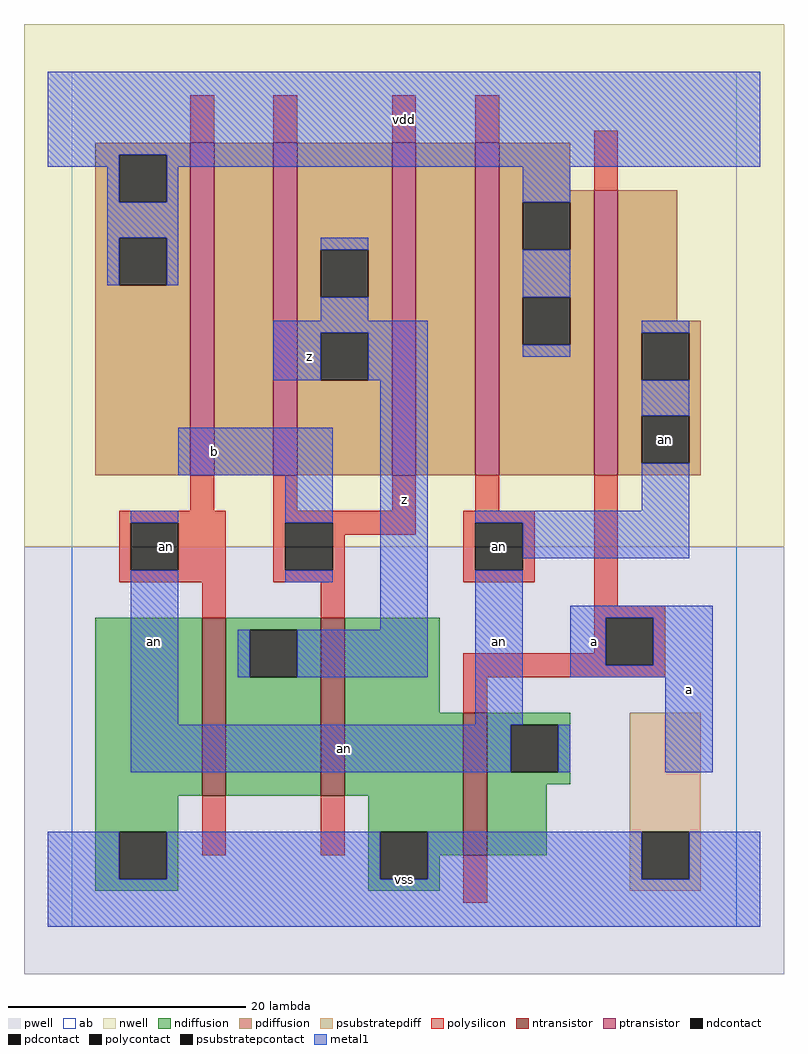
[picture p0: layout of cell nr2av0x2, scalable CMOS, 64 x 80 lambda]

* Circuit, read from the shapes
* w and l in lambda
.subckt nr2av0x2 a an b vdd vss z
M1 z an vss vss nfet w=15 l=2
M2 vss b z vss nfet w=15 l=2
M3 an a vss vss nfet w=12 l=2
M4 n1 an vdd n2 pfet w=28 l=2
M5 z b n1 n2 pfet w=28 l=2
M6 n3 b z n2 pfet w=28 l=2
M7 vdd an n3 n2 pfet w=28 l=2
M8 an a vdd n2 pfet w=24 l=2
.ends

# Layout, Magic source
magic
tech scmos
<< ab >>
rect 0 0 56 72
<< pwell >>
rect -4 -4 60 32
<< nwell >>
rect -4 32 60 76
<< polysilicon >>
rect 10 66 12 70
rect 17 66 19 70
rect 27 66 29 70
rect 34 66 36 70
rect 44 62 46 67
rect 10 35 12 38
rect 17 35 19 38
rect 27 35 29 38
rect 34 35 36 38
rect 4 34 13 35
rect 4 30 5 34
rect 9 30 13 34
rect 4 29 13 30
rect 17 34 29 35
rect 17 30 18 34
rect 22 33 29 34
rect 33 34 39 35
rect 22 30 23 33
rect 17 29 23 30
rect 33 30 34 34
rect 38 30 39 34
rect 33 29 39 30
rect 11 26 13 29
rect 21 26 23 29
rect 44 27 46 38
rect 44 26 50 27
rect 44 23 45 26
rect 33 22 45 23
rect 49 22 50 26
rect 33 21 50 22
rect 33 18 35 21
rect 11 6 13 11
rect 21 6 23 11
rect 33 2 35 6
<< ndiffusion >>
rect 2 11 11 26
rect 13 25 21 26
rect 13 21 15 25
rect 19 21 21 25
rect 13 11 21 21
rect 23 18 31 26
rect 23 11 33 18
rect 2 8 9 11
rect 2 4 4 8
rect 8 4 9 8
rect 25 8 33 11
rect 2 3 9 4
rect 25 4 26 8
rect 30 6 33 8
rect 35 17 42 18
rect 35 13 37 17
rect 41 13 42 17
rect 35 12 42 13
rect 35 6 40 12
rect 30 4 31 6
rect 25 3 31 4
<< pdiffusion >>
rect 2 65 10 66
rect 2 61 4 65
rect 8 61 10 65
rect 2 58 10 61
rect 2 54 4 58
rect 8 54 10 58
rect 2 38 10 54
rect 12 38 17 66
rect 19 57 27 66
rect 19 53 21 57
rect 25 53 27 57
rect 19 50 27 53
rect 19 46 21 50
rect 25 46 27 50
rect 19 38 27 46
rect 29 38 34 66
rect 36 62 42 66
rect 36 61 44 62
rect 36 57 38 61
rect 42 57 44 61
rect 36 53 44 57
rect 36 49 38 53
rect 42 49 44 53
rect 36 38 44 49
rect 46 51 51 62
rect 46 50 53 51
rect 46 46 48 50
rect 52 46 53 50
rect 46 43 53 46
rect 46 39 48 43
rect 52 39 53 43
rect 46 38 53 39
<< metal1 >>
rect -2 65 58 72
rect -2 64 4 65
rect 3 61 4 64
rect 8 64 58 65
rect 8 61 9 64
rect 3 58 9 61
rect 38 61 42 64
rect 3 54 4 58
rect 8 54 9 58
rect 21 57 25 58
rect 21 51 25 53
rect 38 53 42 57
rect 17 50 30 51
rect 17 46 21 50
rect 25 46 30 50
rect 38 48 42 49
rect 48 50 52 51
rect 9 38 22 42
rect 5 34 9 35
rect 5 17 9 30
rect 18 34 22 38
rect 18 29 22 30
rect 26 25 30 46
rect 48 43 52 46
rect 48 35 52 39
rect 14 21 15 25
rect 19 21 30 25
rect 34 34 52 35
rect 38 31 52 34
rect 34 17 38 30
rect 42 26 54 27
rect 42 22 45 26
rect 49 22 54 26
rect 42 21 54 22
rect 5 13 37 17
rect 41 13 42 17
rect 50 13 54 21
rect -2 4 4 8
rect 8 4 26 8
rect 30 4 48 8
rect 52 4 58 8
rect -2 0 58 4
<< ntransistor >>
rect 11 11 13 26
rect 21 11 23 26
rect 33 6 35 18
<< ptransistor >>
rect 10 38 12 66
rect 17 38 19 66
rect 27 38 29 66
rect 34 38 36 66
rect 44 38 46 62
<< polycontact >>
rect 5 30 9 34
rect 18 30 22 34
rect 34 30 38 34
rect 45 22 49 26
<< ndcontact >>
rect 15 21 19 25
rect 4 4 8 8
rect 26 4 30 8
rect 37 13 41 17
<< pdcontact >>
rect 4 61 8 65
rect 4 54 8 58
rect 21 53 25 57
rect 21 46 25 50
rect 38 57 42 61
rect 38 49 42 53
rect 48 46 52 50
rect 48 39 52 43
<< psubstratepcontact >>
rect 48 4 52 8
<< psubstratepdiff >>
rect 47 8 53 18
rect 47 4 48 8
rect 52 4 53 8
rect 47 3 53 4
<< labels >>
rlabel polycontact 8 32 8 32 6 an
rlabel polycontact 36 32 36 32 6 an
rlabel metal1 7 24 7 24 6 an
rlabel metal1 12 40 12 40 6 b
rlabel metal1 20 48 20 48 6 z
rlabel metal1 28 4 28 4 6 vss
rlabel metal1 23 15 23 15 6 an
rlabel metal1 36 24 36 24 6 an
rlabel metal1 28 36 28 36 6 z
rlabel metal1 28 68 28 68 6 vdd
rlabel metal1 52 20 52 20 6 a
rlabel metal1 44 24 44 24 6 a
rlabel pdcontact 50 41 50 41 6 an
<< end >>
